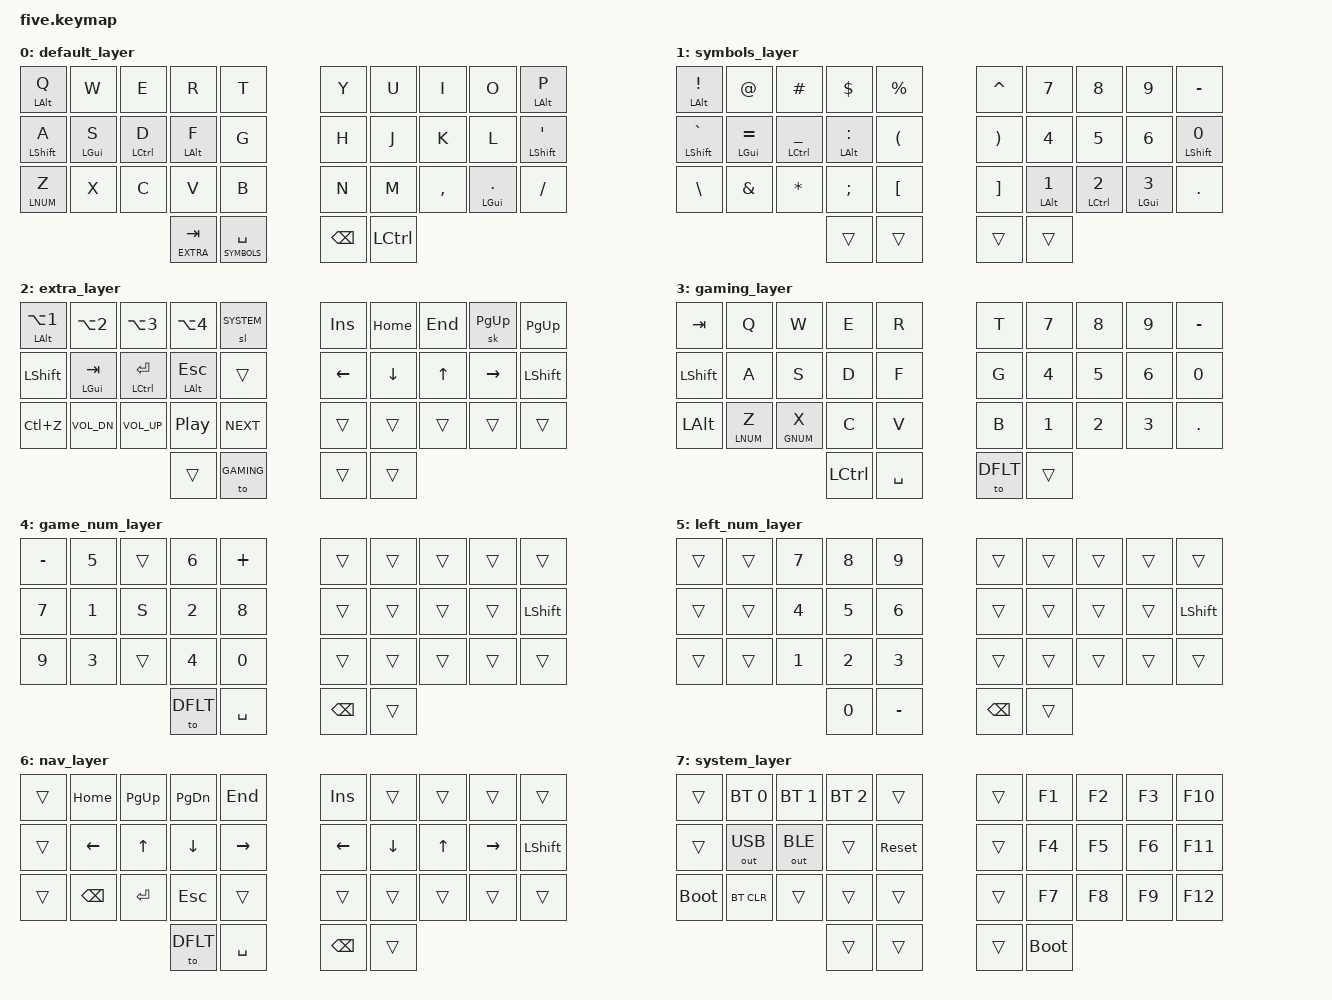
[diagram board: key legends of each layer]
/*
 * Copyright (c) 2020 The ZMK Contributors
 *
 * SPDX-License-Identifier: MIT
 */

#include <behaviors.dtsi>
#include <dt-bindings/zmk/bt.h>
#include <dt-bindings/zmk/keys.h>
#include <dt-bindings/zmk/outputs.h>


#define DFLT      0
#define SYMBOLS   1
#define EXTRA     2
#define GAMING    3
#define GNUM      4
#define LNUM      5
#define NAV       6
#define SYSTEM    7


/ {
    behaviors {
        hpl: hold_preferred_layer {
            compatible = "zmk,behavior-hold-tap";
            label = "HOLD_PREFERRED_LAYER";
            #binding-cells = <2>;
            tapping-term-ms = <100>;
            flavor = "hold-preferred";
            bindings = <&mo>, <&kp>;
        };
        bpl: balanced_layer {
            compatible = "zmk,behavior-hold-tap";
            label = "BALANCED_LAYER";
            #binding-cells = <2>;
            tapping-term-ms = <150>;
            flavor = "balanced";
            bindings = <&mo>, <&kp>;
        };
        tpl: tap_preferred_layer {
            compatible = "zmk,behavior-hold-tap";
            label = "TAP_REFERRED_LAYER";
            #binding-cells = <2>;
            tapping-term-ms = <150>;
            flavor = "tap-preferred";
            bindings = <&mo>, <&kp>;
        };
        hpm: hold_preferred_modifier {
            compatible = "zmk,behavior-hold-tap";
            label = "HOLD_PREFERRED_MODIFIER";
            #binding-cells = <2>;
            tapping-term-ms = <130>;
            flavor = "hold-preferred";
            bindings = <&kp>, <&kp>;
        };
        bpm: balanced_modifier {
            compatible = "zmk,behavior-hold-tap";
            label = "BALANCED_MODIFIER";
            #binding-cells = <2>;
            tapping-term-ms = <140>;
            flavor = "balanced";
            bindings = <&kp>, <&kp>;
        };
        tpm: tap_preferred_modifier {
            compatible = "zmk,behavior-hold-tap";
            label = "TAP_REFERRED_MODIFIER";
            #binding-cells = <2>;
            tapping-term-ms = <150>;
            flavor = "tap-preferred";
            bindings = <&kp>, <&kp>;
        };
    };

    combos {
        compatible = "zmk,combos";
        combo_print_screen_r_t {
            timeout-ms = <50>;
            key-positions = <3 4>;
            bindings = <&kp LC(LS(S))>;
            layers = <EXTRA>;
        };
        combo_caps_word_a_s {
            timeout-ms = <50>;
            key-positions = <10 11>;
            bindings = <&caps_word>;
            layers = <DFLT>;
        };
        combo_enter_d_f {
            timeout-ms = <50>;
            key-positions = <12 13>;
            bindings = <&kp ENTER>;
            layers = <DFLT>;
        };
        combo_sticky_to_symbols_j_k {
            timeout-ms = <50>;
            key-positions = <16 17>;
            bindings = <&kp ESCAPE>;
            layers = <DFLT>;
        };
    };

    keymap {
        compatible = "zmk,keymap";

        default_layer {
            bindings = <
                &tpm LALT Q       &kp W           &kp E            &kp R           &kp T               &kp Y         &kp U        &kp I            &kp O         &tpm LALT P
                &bpm LSHIFT A     &tpm LGUI S     &tpm LCTRL D     &tpm LALT F     &kp G               &kp H         &kp J        &kp K            &kp L         &bpm LSHIFT SQT
                &tpl LNUM Z       &kp X           &kp C            &kp V           &kp B               &kp N         &kp M        &kp COMMA        &tpm LGUI DOT &kp SLASH
                                                                   &hpl EXTRA TAB  &bpl SYMBOLS SPACE  &kp BACKSPACE &kp LCTRL
            >;
        };

        symbols_layer {
            bindings = <
                &tpm LALT EXCL    &kp AT          &kp HASH         &kp DOLLAR       &kp PERCENT        &kp CARET     &kp N7       &kp N8           &kp N9        &kp MINUS
                &bpm LSHIFT GRAVE &tpm LGUI EQUAL &tpm LCTRL UNDER &tpm LALT COLON  &kp LPAR           &kp RPAR      &kp N4       &kp N5           &kp N6        &bpm LSHIFT N0
                &kp BACKSLASH     &kp AMPS        &kp STAR         &kp SEMI         &kp LBKT           &kp RBKT      &tpm LALT N1 &tpm LCTRL N2    &tpm LGUI N3  &kp DOT
                                                                   &trans           &trans             &trans        &trans
            >;
        };
 
        extra_layer {
            bindings = <
                &tpm LALT LA(N1)  &kp LA(N2)      &kp LA(N3)       &kp LA(N4)       &sl SYSTEM         &kp INSERT    &kp HOME     &kp END          &sk PAGE_UP   &kp PAGE_UP
                &kp LSHFT         &tpm LGUI TAB   &tpm LCTRL ENTER &tpm LALT ESCAPE &trans             &kp LEFT      &kp DOWN     &kp UP           &kp RIGHT     &kp LSHIFT
                &kp LC(Z)         &kp C_VOL_DN    &kp C_VOL_UP     &kp C_PP         &kp C_NEXT         &trans        &trans       &trans           &trans        &trans
                                                                   &trans           &to GAMING         &trans        &trans
            >;
        };

        gaming_layer {
            bindings = <
                &kp TAB           &kp Q           &kp W            &kp E            &kp R              &kp T         &kp N7       &kp N8           &kp N9        &kp MINUS
                &kp LSHIFT        &kp A           &kp S            &kp D            &kp F              &kp G         &kp N4       &kp N5           &kp N6        &kp N0
                &kp LALT          &tpl LNUM Z     &tpl GNUM X      &kp C            &kp V              &kp B         &kp N1       &kp N2           &kp N3        &kp DOT
                                                                   &kp LCTRL        &kp SPACE          &to DFLT      &trans
            >;
        };

        game_num_layer {
            bindings = <
                &kp MINUS         &kp N5          &trans           &kp N6           &kp PLUS           &trans        &trans       &trans          &trans         &trans
                &kp N7            &kp N1          &kp S            &kp N2           &kp N8             &trans        &trans       &trans          &trans         &kp LSHIFT
                &kp N9            &kp N3          &trans           &kp N4           &kp N0             &trans        &trans       &trans          &trans         &trans
                                                                   &to DFLT         &kp SPACE          &kp BACKSPACE &trans
            >;
        };

        left_num_layer {
            bindings = <
                &trans            &trans          &kp N7           &kp N8           &kp N9             &trans        &trans       &trans          &trans         &trans
                &trans            &trans          &kp N4           &kp N5           &kp N6             &trans        &trans       &trans          &trans         &kp LSHIFT
                &trans            &trans          &kp N1           &kp N2           &kp N3             &trans        &trans       &trans          &trans         &trans
                                                                   &kp N0           &kp MINUS          &kp BACKSPACE &trans
            >;
        };

        nav_layer {
            bindings = <
                &trans            &kp HOME        &kp PAGE_UP      &kp PAGE_DOWN    &kp END            &kp INSERT    &trans       &trans          &trans         &trans
                &trans            &kp LEFT        &kp UP           &kp DOWN         &kp RIGHT          &kp LEFT      &kp DOWN     &kp UP          &kp RIGHT      &kp LSHIFT
                &trans            &kp BACKSPACE   &kp ENTER        &kp ESC          &trans             &trans        &trans       &trans          &trans         &trans
                                                                   &to DFLT         &kp SPACE          &kp BACKSPACE &trans
            >;
        };

        system_layer {
            bindings = <
                &trans            &bt BT_SEL 0    &bt BT_SEL 1     &bt BT_SEL 2     &trans             &trans        &kp F1       &kp F2          &kp F3         &kp F10
                &trans            &out OUT_USB    &out OUT_BLE     &trans           &sys_reset         &trans        &kp F4       &kp F5          &kp F6         &kp F11
                &bootloader       &bt BT_CLR      &trans           &trans           &trans             &trans        &kp F7       &kp F8          &kp F9         &kp F12
                                                                   &trans           &trans             &trans        &bootloader

            >;
        };
    };
};
